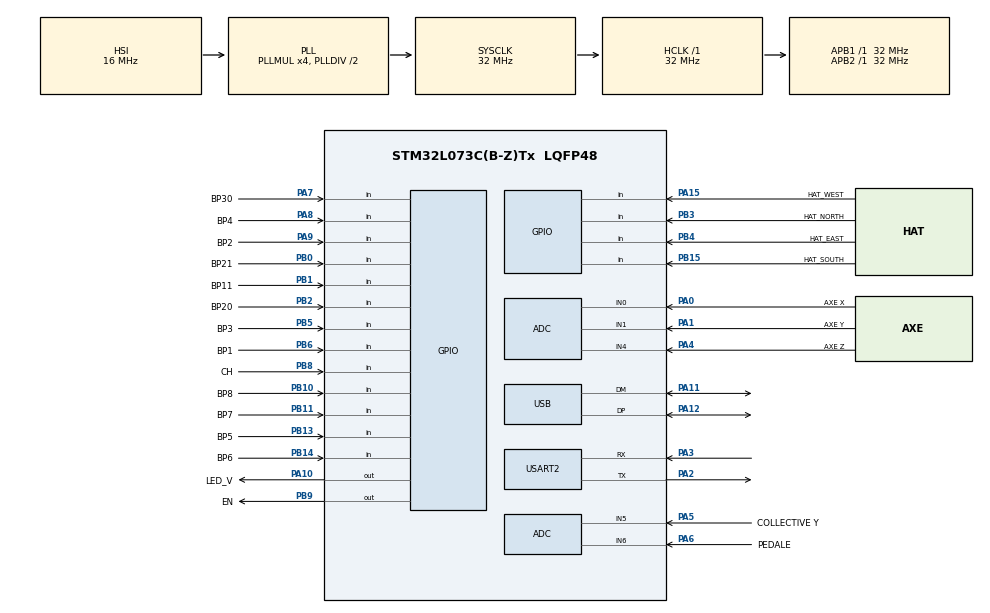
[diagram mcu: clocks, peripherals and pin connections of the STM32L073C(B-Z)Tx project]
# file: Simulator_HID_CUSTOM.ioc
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ADC.ContinuousConvMode=ENABLE
ADC.SamplingTime=ADC_SAMPLETIME_1CYCLE_5
Mcu.Family=STM32L0
Mcu.Name=STM32L073C(B-Z)Tx
Mcu.Package=LQFP48
NVIC.USB_IRQn=true\:0\:0\:true\:false\:true\:false\:true
PA0.GPIO_Label=AXE X
PA0.Mode=IN0
PA0.Signal=ADC_IN0
PA1.GPIO_Label=AXE Y
PA1.Mode=IN1
PA1.Signal=ADC_IN1
PA10.GPIO_Label=LED_V
PA10.Signal=GPIO_Output
PA11.Mode=Device
PA11.Signal=USB_DM
PA12.Mode=Device
PA12.Signal=USB_DP
PA13.Mode=Serial_Wire
PA13.Signal=SYS_SWDIO
PA14.Mode=Serial_Wire
PA14.Signal=SYS_SWCLK
PA15.GPIO_Label=HAT_WEST
PA15.GPIO_PuPd=GPIO_PULLUP
PA15.Signal=GPIO_Input
PA2.Mode=Asynchronous
PA2.Signal=USART2_TX
PA3.Mode=Asynchronous
PA3.Signal=USART2_RX
PA4.GPIO_Label=AXE Z
PA4.Mode=IN4
PA4.Signal=ADC_IN4
PA5.GPIO_Label=COLLECTIVE Y
PA5.Mode=IN5
PA5.Signal=ADC_IN5
PA6.GPIO_Label=PEDALE
PA6.Mode=IN6
PA6.Signal=ADC_IN6
PA7.GPIO_Label=BP30
PA7.GPIO_PuPd=GPIO_PULLUP
PA7.Signal=GPIO_Input
PA8.GPIO_Label=BP4
PA8.GPIO_PuPd=GPIO_PULLUP
PA8.Signal=GPIO_Input
PA9.GPIO_Label=BP2
PA9.Signal=GPIO_Input
PB0.GPIO_Label=BP21
PB0.GPIO_PuPd=GPIO_PULLUP
PB0.Signal=GPIO_Input
PB1.GPIO_Label=BP11
PB1.GPIO_PuPd=GPIO_PULLUP
PB1.Signal=GPIO_Input
PB10.GPIO_Label=BP8
PB10.GPIO_PuPd=GPIO_PULLUP
PB10.Signal=GPIO_Input
PB11.GPIO_Label=BP7
PB11.GPIO_PuPd=GPIO_PULLUP
PB11.Signal=GPIO_Input
PB13.GPIO_Label=BP5
PB13.GPIO_PuPd=GPIO_PULLDOWN
PB13.Signal=GPIO_Input
PB14.GPIO_Label=BP6
PB14.GPIO_PuPd=GPIO_PULLDOWN
PB14.Signal=GPIO_Input
PB15.GPIO_Label=HAT_SOUTH
PB15.GPIO_PuPd=GPIO_PULLUP
PB15.Signal=GPIO_Input
PB2.GPIO_Label=BP20
PB2.GPIO_PuPd=GPIO_PULLDOWN
PB2.Signal=GPIO_Input
PB3.GPIO_Label=HAT_NORTH
PB3.GPIO_PuPd=GPIO_PULLUP
PB3.Signal=GPIO_Input
PB4.GPIO_Label=HAT_EAST
PB4.GPIO_PuPd=GPIO_PULLUP
PB4.Signal=GPIO_Input
PB5.GPIO_Label=BP3
PB5.GPIO_PuPd=GPIO_PULLUP
PB5.Signal=GPIO_Input
PB6.GPIO_Label=BP1
PB6.GPIO_PuPd=GPIO_PULLUP
PB6.Signal=GPIO_Input
PB8.GPIO_Label=CH
PB8.GPIO_PuPd=GPIO_PULLDOWN
PB8.Signal=GPIO_Input
PB9.GPIO_Label=EN
PB9.GPIO_PuPd=GPIO_PULLDOWN
PB9.Signal=GPIO_Output
ProjectManager.HeapSize=0x1000
ProjectManager.StackSize=0x400
ProjectManager.TargetToolchain=STM32CubeIDE
RCC.AHBFreq_Value=32000000
RCC.APB1Freq_Value=32000000
RCC.APB1TimFreq_Value=32000000
RCC.APB2Freq_Value=32000000
RCC.APB2TimFreq_Value=32000000
RCC.HCLKFreq_Value=32000000
RCC.HSE_VALUE=8000000
RCC.HSI16_VALUE=16000000
RCC.HSI48MClockSelection=RCC_USBCLKSOURCE_HSI48
RCC.HSI48_VALUE=48000000
RCC.HSI_VALUE=16000000
RCC.LSE_VALUE=32768
RCC.MSI_VALUE=2097000
RCC.PLLMUL=RCC_PLLMUL_4
RCC.SYSCLKFreq_VALUE=32000000
RCC.SYSCLKSource=RCC_SYSCLKSOURCE_PLLCLK
RCC.VCOOutputFreq_Value=64000000
USART2.VirtualMode-Asynchronous=VM_ASYNC
USB.low_power_enable=DISABLE
USB_DEVICE.CLASS_NAME_FS=CUSTOM_HID
USB_DEVICE.PID_CUSTOMHID_FS=0x5750
USB_DEVICE.USBD_CUSTOMHID_OUTREPORT_BUF_SIZE=8
USB_DEVICE.USBD_CUSTOM_HID_REPORT_DESC_SIZE=85
USB_DEVICE.VID=0x483
USB_DEVICE.VirtualMode=CustomHid
USB_DEVICE.VirtualModeFS=Custom_Hid_FS
VP_USB_DEVICE_VS_USB_DEVICE_CUSTOM_HID_FS.Mode=CUSTOM_HID_FS
board=custom

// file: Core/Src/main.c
/* USER CODE BEGIN Header */
/**
  ******************************************************************************
  * @file           : main.c
  * @brief          : Main program body
  ******************************************************************************
  * @attention
  *
  * Copyright (c) 2022 STMicroelectronics.
  * All rights reserved.
  *
  * This software is licensed under terms that can be found in the LICENSE file
  * in the root directory of this software component.
  * If no LICENSE file comes with this software, it is provided AS-IS.
  *
  ******************************************************************************
  */
/* USER CODE END Header */
#include "main.h"
#include "usb_device.h"

/* USER CODE BEGIN Includes */
#include "usbd_customhid.h"
//#include "stm32l0xx_it.h"
/* USER CODE END Includes */

/* USER CODE BEGIN PTD */

typedef struct{
	uint8_t hat0;
	uint8_t hat1;
	uint8_t hat2;
	uint8_t key3;
	uint8_t but0;
	uint8_t but1;
	uint8_t but2;
	uint8_t but3;
	uint16_t x;
	uint16_t y;
	uint16_t z;
	uint16_t rx;
	uint16_t ry;
}pumaHID;

pumaHID pumahid;

/* USER CODE END PTD */

ADC_HandleTypeDef hadc;

UART_HandleTypeDef huart2;

/* USER CODE BEGIN PV */
extern USBD_CUSTOM_HID_HandleTypeDef hUsbDeviceFS;
//extern USBD_CUSTOM_HID_ItfTypeDef hUsbDeviceFS;

GPIO_PinState BP_1;
GPIO_PinState BP_3;
GPIO_PinState hat_east;

GPIO_PinState hat_north;
GPIO_PinState hat_west;

GPIO_PinState BP_2;
GPIO_PinState BP_4;
GPIO_PinState hat_south;

GPIO_PinState BP_5;
GPIO_PinState BP_6;

GPIO_PinState BP_7;
GPIO_PinState BP_8;

GPIO_PinState BP_11;
GPIO_PinState BP_20;

GPIO_PinState BP_21;
GPIO_PinState BP_30;

GPIO_PinState CH;
/* USER CODE END PV */

void SystemClock_Config(void);
static void MX_GPIO_Init(void);
static void MX_ADC_Init(void);
static void MX_USART2_UART_Init(void);
/* USER CODE BEGIN PFP */
void envoi(void);
/* USER CODE END PFP */

int main(void)
{
  /* USER CODE BEGIN 1 */

	uint32_t ADC_VAL[5];
	char msg[80];

	pumahid.hat0 = 0x00;
	pumahid.hat1 = 0x00;
	pumahid.hat2 = 0x00;
	pumahid.key3 = 0x00;
	pumahid.but0 = 0x00;
	pumahid.but1 = 0x00;
	pumahid.but2 = 0x00;
	pumahid.but3 = 0x00;
	pumahid.x = 0x0000;
	pumahid.y = 0x0000;
	pumahid.z = 0x0000;
	pumahid.rx = 0x0000;
	pumahid.ry = 0x0000;

  /* USER CODE END 1 */

  /* MCU Configuration--------------------------------------------------------*/

  /* Reset of all peripherals, Initializes the Flash interface and the Systick. */
  HAL_Init();

  /* Configure the system clock */
  SystemClock_Config();

  /* Initialize all configured peripherals */
  MX_GPIO_Init();
  MX_ADC_Init();
  MX_USART2_UART_Init();
  MX_USB_DEVICE_Init();
  /* USER CODE BEGIN 2 */
  HAL_GPIO_WritePin(GPIOA, GPIO_PIN_10, GPIO_PIN_SET);
  HAL_GPIO_WritePin(GPIOB, GPIO_PIN_9, GPIO_PIN_RESET);
  HAL_ADCEx_Calibration_Start(&hadc, ADC_SINGLE_ENDED);		// Calibration de l'ADC
  /* USER CODE END 2 */

  /* Infinite loop */
  /* USER CODE BEGIN WHILE */
  while (1)
  {

	  CH = HAL_GPIO_ReadPin(GPIOB, GPIO_PIN_8);				// Entrée CH pour le débouncer

	  /******************** LECTURE DES BOUTONS POUSSOIRS ********************/

	  /************ BOUTON SUR MANCHE ************/

	  BP_1 = HAL_GPIO_ReadPin(GPIOB, GPIO_PIN_6);			// Lecture bouton 1
	  BP_3 = HAL_GPIO_ReadPin(GPIOB, GPIO_PIN_5);			// Lecture bouton 3
	  hat_east = HAL_GPIO_ReadPin(GPIOB, GPIO_PIN_4);		// Lecture chapeau est

	  hat_north = HAL_GPIO_ReadPin(GPIOB, GPIO_PIN_3);		// Lecture chapeau nord
	  hat_west = HAL_GPIO_ReadPin(GPIOA, GPIO_PIN_15);		// Lecture chapeau ouest

	  BP_2 = HAL_GPIO_ReadPin(GPIOA, GPIO_PIN_9);			// Lecture bouton 2
	  BP_4 = HAL_GPIO_ReadPin(GPIOA, GPIO_PIN_8);			// Lecture bouton 4
	  hat_south = HAL_GPIO_ReadPin(GPIOB, GPIO_PIN_15);		// Lecture chapeau sud

	  /************ BOUTON SUR CONLLECTIVE ************/

	  BP_5 = HAL_GPIO_ReadPin(GPIOB, GPIO_PIN_13);			// Lecture bouton 5 rouge
	  BP_6 = HAL_GPIO_ReadPin(GPIOB, GPIO_PIN_14);			// Lecture bouton 6 rouge

	  BP_7 = HAL_GPIO_ReadPin(GPIOB, GPIO_PIN_11);			// Lecture switch rouge position haut
	  BP_8 = HAL_GPIO_ReadPin(GPIOB, GPIO_PIN_10);			// Lecture switch rouge position bas

	  BP_20 = HAL_GPIO_ReadPin(GPIOB, GPIO_PIN_2);			// Lecture swtich noir config 1 position haut
	  BP_11 = HAL_GPIO_ReadPin(GPIOB, GPIO_PIN_1);			// Lecture switch noir config 1 position bas
	  BP_21 = HAL_GPIO_ReadPin(GPIOB, GPIO_PIN_0);			// Lecture switch noir config 2 position haut
	  BP_30 = HAL_GPIO_ReadPin(GPIOA, GPIO_PIN_7);			// Lecture switch noir config 2 position bas

	  /******************** CONVERSION DES DONNEES ANALOGIQUE ********************/

	  HAL_ADC_Start(&hadc);								// Scan des entrées ADC
	  ADC_VAL[0] = HAL_ADC_GetValue(&hadc);					// ADC channel 0
	  ADC_VAL[1] = HAL_ADC_GetValue(&hadc);					// ADC channel 1
	  ADC_VAL[2] = HAL_ADC_GetValue(&hadc);					// ADC channel 4
	  ADC_VAL[3] = HAL_ADC_GetValue(&hadc);					// ADC channel 5
	  ADC_VAL[4] = HAL_ADC_GetValue(&hadc);					// ADC channel 6
	  HAL_ADC_PollForConversion(&hadc, HAL_MAX_DELAY);		// Fin de conversion
	  HAL_ADC_Stop(&hadc);									// Stop la conversion

	  if (hat_north == 0) pumahid.hat0 = 0x00;				// Appuie sur chapeau nord
	  else if (hat_west == 0) pumahid.hat0 = 0x06;			// Appuie sur chapeau ouest
	  else if (hat_east == 0) pumahid.hat0 = 0x02;			// Appuie sur chapeau est
	  else if (hat_south == 0) pumahid.hat0 = 0x04;			// Appuie sur chapeau sud
	  else pumahid.hat0 = 0x07;

	  if (BP_1 == 0) pumahid.but0 = 0x01;					// Appuie sur bouton 1
	  else if (BP_3 == 0) pumahid.but0 = 0x02;				// Appuie sur bouton 3
	  else if (BP_2 == 0) pumahid.but0 = 0x04;				// Appuie sur bouton 2
	  else if (BP_4 == 0) pumahid.but0 = 0X08;				// Appuie sur bouton 4
	  else pumahid.but0 = 0x10;

	  if (BP_5 == 0) pumahid.but1 = 0x01;					// Appuie sur bouton 5
	  else if (BP_6 == 0) pumahid.but1 = 0x02;				// Appuie sur bouton 6
	  else pumahid.but1 = 0x04;

	  /******************** Gestion des communitateurs ********************/
	  if (BP_7 == 0)
	  {
		  if (BP_11 == 0) pumahid.but2 = 0x01;
		  if (BP_20 == 0) pumahid.but2 = 0x02;
	  }

	  ADC_VAL[0] -= 1725;											// AXE X
	  if (ADC_VAL[0] < 0 | ADC_VAL[0] > 60000) ADC_VAL[0] = 0;
	  ADC_VAL[0] = (ADC_VAL[0]*255)/511;
	  if (ADC_VAL[0] > 255 & ADC_VAL[0] < 50000) ADC_VAL[0] = 255;

	  ADC_VAL[1] -= 1766;											// AXE Y
	  if (ADC_VAL[1] < 0 | ADC_VAL[1] > 60000) ADC_VAL[1] = 0;
	  ADC_VAL[1] = (ADC_VAL[1]*255)/490;
	  if (ADC_VAL[1] > 255 & ADC_VAL[1] < 50000) ADC_VAL[1] = 255;

	  ADC_VAL[2] -= 1850;											// COLLECTIVE AXE Z
	  if (ADC_VAL[2] < 0 | ADC_VAL[2] > 60000) ADC_VAL[2] = 0;
	  ADC_VAL[2] = (ADC_VAL[2]*255)/700;
	  if (ADC_VAL[2] > 255 & ADC_VAL[2] < 50000) ADC_VAL[2] = 255;

	  ADC_VAL[3] -= 3912;											// PEDAL X ROTATION
	  if (ADC_VAL[3] < 0 | ADC_VAL[3] > 60000) ADC_VAL[3] = 0;
	  ADC_VAL[3] = (ADC_VAL[3]*255)/38;
	  if (ADC_VAL[3] > 255 & ADC_VAL[3] < 50000) ADC_VAL[3] = 255;

	  ADC_VAL[4] -= 2264;											// COLLECTIVE Y ROTATION
	  if (ADC_VAL[4] < 0 | ADC_VAL[4] > 60000) ADC_VAL[4] = 0;
	  ADC_VAL[4] = (ADC_VAL[4]*255)/104;
	  if (ADC_VAL[4] > 255 & ADC_VAL[4] < 50000) ADC_VAL[4] = 255;

	  /*********** Attribution des valeurs analogiques aux différents axes ***********/

	  pumahid.x = ADC_VAL[0];
	  pumahid.y = ADC_VAL[1];
	  pumahid.z = ADC_VAL[2];
	  pumahid.rx = ADC_VAL[3];
	  pumahid.ry = ADC_VAL[4];

	  /*********** Envoie des valeurs par USB ***********/
	  USBD_CUSTOM_HID_SendReport(&hUsbDeviceFS, &pumahid, sizeof(pumahid));

	  HAL_Delay(10);

	  /*********** Envoie des valeurs en UART ***********/
	  //sprintf(msg, " PEDAL X = %hu | COLLECTIVE = %hu\n", /*ADC_VAL[0], ADC_VAL[1], ADC_VAL[2], */ADC_VAL[3], ADC_VAL[4]);
	  //HAL_UART_Transmit(&huart2, &msg, strlen(msg), HAL_MAX_DELAY);

    /* USER CODE END WHILE */

  }
}

void SystemClock_Config(void)
{
  RCC_OscInitTypeDef RCC_OscInitStruct = {0};
  RCC_ClkInitTypeDef RCC_ClkInitStruct = {0};
  RCC_PeriphCLKInitTypeDef PeriphClkInit = {0};

  /** Configure the main internal regulator output voltage
  */
  __HAL_PWR_VOLTAGESCALING_CONFIG(PWR_REGULATOR_VOLTAGE_SCALE1);
  /** Initializes the RCC Oscillators according to the specified parameters
  * in the RCC_OscInitTypeDef structure.
  */
  RCC_OscInitStruct.OscillatorType = RCC_OSCILLATORTYPE_HSI|RCC_OSCILLATORTYPE_HSI48;
  RCC_OscInitStruct.HSIState = RCC_HSI_ON;
  RCC_OscInitStruct.HSICalibrationValue = RCC_HSICALIBRATION_DEFAULT;
  RCC_OscInitStruct.HSI48State = RCC_HSI48_ON;
  RCC_OscInitStruct.PLL.PLLState = RCC_PLL_ON;
  RCC_OscInitStruct.PLL.PLLSource = RCC_PLLSOURCE_HSI;
  RCC_OscInitStruct.PLL.PLLMUL = RCC_PLLMUL_4;
  RCC_OscInitStruct.PLL.PLLDIV = RCC_PLLDIV_2;
  if (HAL_RCC_OscConfig(&RCC_OscInitStruct) != HAL_OK)
  {
    Error_Handler();
  }
  /** Initializes the CPU, AHB and APB buses clocks
  */
  RCC_ClkInitStruct.ClockType = RCC_CLOCKTYPE_HCLK|RCC_CLOCKTYPE_SYSCLK
                              |RCC_CLOCKTYPE_PCLK1|RCC_CLOCKTYPE_PCLK2;
  RCC_ClkInitStruct.SYSCLKSource = RCC_SYSCLKSOURCE_PLLCLK;
  RCC_ClkInitStruct.AHBCLKDivider = RCC_SYSCLK_DIV1;
  RCC_ClkInitStruct.APB1CLKDivider = RCC_HCLK_DIV1;
  RCC_ClkInitStruct.APB2CLKDivider = RCC_HCLK_DIV1;

  if (HAL_RCC_ClockConfig(&RCC_ClkInitStruct, FLASH_LATENCY_1) != HAL_OK)
  {
    Error_Handler();
  }
  PeriphClkInit.PeriphClockSelection = RCC_PERIPHCLK_USART2|RCC_PERIPHCLK_USB;
  PeriphClkInit.Usart2ClockSelection = RCC_USART2CLKSOURCE_PCLK1;
  PeriphClkInit.UsbClockSelection = RCC_USBCLKSOURCE_HSI48;
  if (HAL_RCCEx_PeriphCLKConfig(&PeriphClkInit) != HAL_OK)
  {
    Error_Handler();
  }
}

static void MX_ADC_Init(void)
{

  ADC_ChannelConfTypeDef sConfig = {0};

  /** Configure the global features of the ADC (Clock, Resolution, Data Alignment and number of conversion)
  */
  hadc.Instance = ADC1;
  hadc.Init.OversamplingMode = DISABLE;
  hadc.Init.ClockPrescaler = ADC_CLOCK_SYNC_PCLK_DIV2;
  hadc.Init.Resolution = ADC_RESOLUTION_12B;
  hadc.Init.SamplingTime = ADC_SAMPLETIME_1CYCLE_5;
  hadc.Init.ScanConvMode = ADC_SCAN_DIRECTION_FORWARD;
  hadc.Init.DataAlign = ADC_DATAALIGN_RIGHT;
  hadc.Init.ContinuousConvMode = ENABLE;
  hadc.Init.DiscontinuousConvMode = DISABLE;
  hadc.Init.ExternalTrigConvEdge = ADC_EXTERNALTRIGCONVEDGE_NONE;
  hadc.Init.ExternalTrigConv = ADC_SOFTWARE_START;
  hadc.Init.DMAContinuousRequests = DISABLE;
  hadc.Init.EOCSelection = ADC_EOC_SINGLE_CONV;
  hadc.Init.Overrun = ADC_OVR_DATA_PRESERVED;
  hadc.Init.LowPowerAutoWait = DISABLE;
  hadc.Init.LowPowerFrequencyMode = DISABLE;
  hadc.Init.LowPowerAutoPowerOff = DISABLE;
  if (HAL_ADC_Init(&hadc) != HAL_OK)
  {
    Error_Handler();
  }
  /** Configure for the selected ADC regular channel to be converted.
  */
  sConfig.Channel = ADC_CHANNEL_0;
  sConfig.Rank = ADC_RANK_CHANNEL_NUMBER;
  if (HAL_ADC_ConfigChannel(&hadc, &sConfig) != HAL_OK)
  {
    Error_Handler();
  }
  /** Configure for the selected ADC regular channel to be converted.
  */
  sConfig.Channel = ADC_CHANNEL_1;
  if (HAL_ADC_ConfigChannel(&hadc, &sConfig) != HAL_OK)
  {
    Error_Handler();
  }
  /** Configure for the selected ADC regular channel to be converted.
  */
  sConfig.Channel = ADC_CHANNEL_4;
  if (HAL_ADC_ConfigChannel(&hadc, &sConfig) != HAL_OK)
  {
    Error_Handler();
  }
  /** Configure for the selected ADC regular channel to be converted.
  */
  sConfig.Channel = ADC_CHANNEL_5;
  if (HAL_ADC_ConfigChannel(&hadc, &sConfig) != HAL_OK)
  {
    Error_Handler();
  }
  /** Configure for the selected ADC regular channel to be converted.
  */
  sConfig.Channel = ADC_CHANNEL_6;
  if (HAL_ADC_ConfigChannel(&hadc, &sConfig) != HAL_OK)
  {
    Error_Handler();
  }

}

static void MX_USART2_UART_Init(void)
{

  huart2.Instance = USART2;
  huart2.Init.BaudRate = 115200;
  huart2.Init.WordLength = UART_WORDLENGTH_8B;
  huart2.Init.StopBits = UART_STOPBITS_1;
  huart2.Init.Parity = UART_PARITY_NONE;
  huart2.Init.Mode = UART_MODE_TX_RX;
  huart2.Init.HwFlowCtl = UART_HWCONTROL_NONE;
  huart2.Init.OverSampling = UART_OVERSAMPLING_16;
  huart2.Init.OneBitSampling = UART_ONE_BIT_SAMPLE_DISABLE;
  huart2.AdvancedInit.AdvFeatureInit = UART_ADVFEATURE_NO_INIT;
  if (HAL_UART_Init(&huart2) != HAL_OK)
  {
    Error_Handler();
  }

}

static void MX_GPIO_Init(void)
{
  GPIO_InitTypeDef GPIO_InitStruct = {0};

  /* GPIO Ports Clock Enable */
  __HAL_RCC_GPIOA_CLK_ENABLE();
  __HAL_RCC_GPIOB_CLK_ENABLE();

  /*Configure GPIO pin Output Level */
  HAL_GPIO_WritePin(LED_V_GPIO_Port, LED_V_Pin, GPIO_PIN_RESET);

  /*Configure GPIO pin Output Level */
  HAL_GPIO_WritePin(EN_GPIO_Port, EN_Pin, GPIO_PIN_RESET);

  /*Configure GPIO pins : BP30_Pin BP4_Pin HAT_WEST_Pin */
  GPIO_InitStruct.Pin = BP30_Pin|BP4_Pin|HAT_WEST_Pin;
  GPIO_InitStruct.Mode = GPIO_MODE_INPUT;
  GPIO_InitStruct.Pull = GPIO_PULLUP;
  HAL_GPIO_Init(GPIOA, &GPIO_InitStruct);

  /*Configure GPIO pins : BP21_Pin BP11_Pin BP8_Pin BP7_Pin
                           HAT_SOUTH_Pin HAT_NORTH_Pin HAT_EAST_Pin BP3_Pin
                           BP1_Pin */
  GPIO_InitStruct.Pin = BP21_Pin|BP11_Pin|BP8_Pin|BP7_Pin
                          |HAT_SOUTH_Pin|HAT_NORTH_Pin|HAT_EAST_Pin|BP3_Pin
                          |BP1_Pin;
  GPIO_InitStruct.Mode = GPIO_MODE_INPUT;
  GPIO_InitStruct.Pull = GPIO_PULLUP;
  HAL_GPIO_Init(GPIOB, &GPIO_InitStruct);

  /*Configure GPIO pins : BP20_Pin BP5_Pin BP6_Pin CH_Pin */
  GPIO_InitStruct.Pin = BP20_Pin|BP5_Pin|BP6_Pin|CH_Pin;
  GPIO_InitStruct.Mode = GPIO_MODE_INPUT;
  GPIO_InitStruct.Pull = GPIO_PULLDOWN;
  HAL_GPIO_Init(GPIOB, &GPIO_InitStruct);

  /*Configure GPIO pin : BP2_Pin */
  GPIO_InitStruct.Pin = BP2_Pin;
  GPIO_InitStruct.Mode = GPIO_MODE_INPUT;
  GPIO_InitStruct.Pull = GPIO_NOPULL;
  HAL_GPIO_Init(BP2_GPIO_Port, &GPIO_InitStruct);

  /*Configure GPIO pin : LED_V_Pin */
  GPIO_InitStruct.Pin = LED_V_Pin;
  GPIO_InitStruct.Mode = GPIO_MODE_OUTPUT_PP;
  GPIO_InitStruct.Pull = GPIO_NOPULL;
  GPIO_InitStruct.Speed = GPIO_SPEED_FREQ_LOW;
  HAL_GPIO_Init(LED_V_GPIO_Port, &GPIO_InitStruct);

  /*Configure GPIO pin : EN_Pin */
  GPIO_InitStruct.Pin = EN_Pin;
  GPIO_InitStruct.Mode = GPIO_MODE_OUTPUT_PP;
  GPIO_InitStruct.Pull = GPIO_PULLDOWN;
  GPIO_InitStruct.Speed = GPIO_SPEED_FREQ_LOW;
  HAL_GPIO_Init(EN_GPIO_Port, &GPIO_InitStruct);

}

void Error_Handler(void)
{
  __disable_irq();
  while (1)
  {
  }
}
